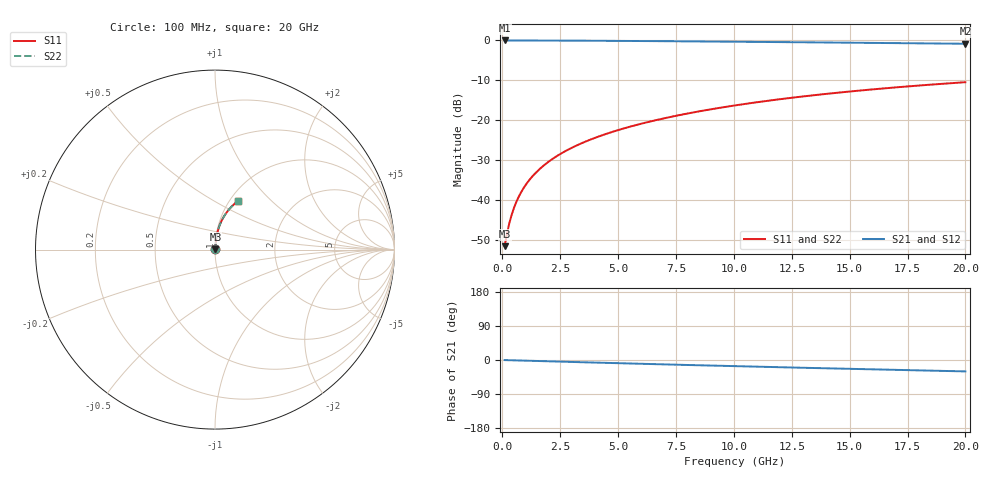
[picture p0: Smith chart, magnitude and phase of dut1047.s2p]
! Touchstone file exported from HFSS 2024.1.0
!  File:  C:/UserFiles/LocalFiles/RDL_TSV_Batchsim/temp_RDL_bottom_1047_1780051791.aedt
!  Generated:  06:51:57 PM May 29, 2026
!  Design:  RDL_bottom
!  Project:  temp_RDL_bottom_1047_1780051791
!  Setup:  Setup1
!  Solution:  Sweep
! Variables:
!  dtsv = 10.80580581um
!  hbump = 3um
!  htsv = 76.18um
!  ldown = 432.2um
!  lrdl = 100um
!  p = 40
!  p1 = 40.77um
!  rhole = 1um
!  t = 450um
!  tdown = 4.69um
!  trdl = 3.915915916um
!  wdown = 16.57um
!  wrdl = 20um
# GHz S MA R 50.000000
! Terminal data exported
! Port[1] = RDL1_T1
! Port[2] = RDL1_T2
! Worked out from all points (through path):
!   200 points, 100 MHz to 20 GHz, reference 50 ohm
!   highest |S21| = -0.02 dB at 100 MHz (marker M1); lowest = -0.8 dB at 20 GHz (marker M2)
!   group delay of S21, straight-line fit = 4.15 ps
!   lowest |S11| = -51.5 dB at 100 MHz (marker M3), VSWR 1.01, Z = 50.2 + j0.162 ohm
!   |S11| at or under -10 dB: start of sweep to end of sweep
!   |S22| runs from -51.5 to -10.5 dB; largest |S21 - S12| = 4.5e-15
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0.1  0.002647 37.7  0.9979 -0.2  0.9979 -0.2  0.002647 37.7
! Gamma 0 0 0 0
! Port Impedance 50 0 50 0
0.2  0.003772 55.2  0.9978 -0.4  0.9978 -0.4  0.003772 55.2
0.3  0.005084 64.6  0.9977 -0.5  0.9977 -0.5  0.005084 64.6
0.4  0.006483 70.0  0.9976 -0.7  0.9976 -0.7  0.006483 70.0
0.5  0.007924 73.5  0.9975 -0.9  0.9975 -0.9  0.007924 73.5
0.6  0.009388 75.9  0.9974 -1.1  0.9974 -1.1  0.009388 75.9
0.8  0.01235 78.8  0.9972 -1.4  0.9972 -1.4  0.01235 78.8
1.1  0.01682 81.1  0.9968 -1.9  0.9968 -1.9  0.01682 81.1
1.3  0.01981 82.0  0.9965 -2.3  0.9965 -2.3  0.01981 82.0
1.5  0.0228 82.6  0.9962 -2.6  0.9962 -2.6  0.0228 82.6
1.8  0.02728 83.1  0.9957 -3.1  0.9957 -3.1  0.02728 83.1
2.1  0.03175 83.5  0.9951 -3.6  0.9951 -3.6  0.03175 83.5
2.7  0.04069 83.7  0.9937 -4.6  0.9937 -4.6  0.04069 83.7
3.5  0.05263 83.7  0.9914 -6.0  0.9914 -6.0  0.05263 83.7
4.2  0.06314 83.5  0.989 -7.1  0.989 -7.1  0.06313 83.5
5  0.07523 83.0  0.9859 -8.5  0.9859 -8.5  0.07523 83.0
6.8  0.1028 81.6  0.9782 -11.3  0.9782 -11.3  0.1028 81.6
8.4  0.1276 80.0  0.9706 -13.8  0.9706 -13.8  0.1276 80.0
10.1  0.1541 78.0  0.962 -16.3  0.962 -16.3  0.1541 78.0
13.4  0.2049 73.7  0.9446 -21.1  0.9446 -21.1  0.2049 73.7
16.7  0.2537 69.2  0.9263 -25.7  0.9263 -25.7  0.2536 69.2
20  0.2995 64.7  0.9075 -30.1  0.9075 -30.1  0.2994 64.7
